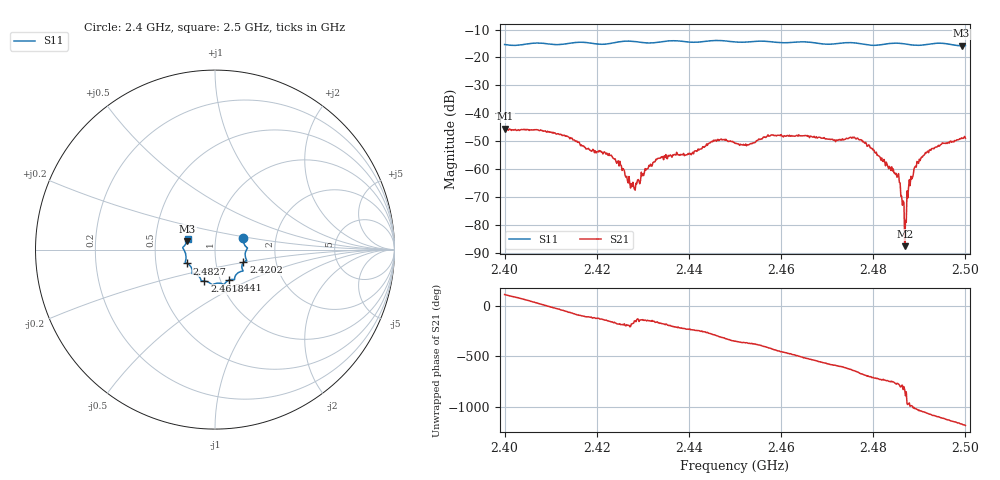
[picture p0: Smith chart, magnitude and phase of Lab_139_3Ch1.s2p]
# Hz S RI R 50
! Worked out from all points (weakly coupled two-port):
!   601 points, 2.4 GHz to 2.5 GHz, reference 50 ohm
!   highest |S21| = -45.50 dB at 2.4002 GHz (marker M1); lowest = -87.6 dB at 2.4868 GHz (marker M2)
!   lowest |S11| = -15.8 dB at 2.4992 GHz (marker M3), VSWR 1.39, Z = 36.4 + j3.64 ohm
!   |S11| at or under -10 dB: start of sweep to end of sweep
!   S12 and S22 are empty: the file has one direction only
!   S11 on the Smith chart (normalised r, x): 2.4 GHz: 1.36, +0.18; 2.4202 GHz: 1.36, -0.20; 2.441 GHz: 1.10, -0.39; 2.4618 GHz: 0.84, -0.30; 2.4827 GHz: 0.72, -0.12; 2.5 GHz: 0.73, +0.09
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2.4e9  0.1585 0.0631  -0.00204 0.00481  0 0  0 0
2.400167e9  0.1584 0.0616  -0.00184 0.00498  0 0  0 0
2.4105e9  0.1709 -0.0111  0.00437 -0.00143  0 0  0 0
2.416667e9  0.1771 -0.0608  -0.000366 -0.0027  0 0  0 0
2.420167e9  0.1588 -0.0711  -0.00109 -0.00177  0 0  0 0
2.424833e9  0.1537 -0.1124  -0.00114 9.82e-06  0 0  0 0
2.427833e9  0.1531 -0.1198  -0.000579 -6.44e-05  0 0  0 0
2.433333e9  0.1114 -0.1507  -0.00154 -0.000311  0 0  0 0
2.441e9  0.0789 -0.1698  -0.000983 0.0016  0 0  0 0
2.445833e9  0.0502 -0.1951  0.00126 0.00303  0 0  0 0
2.45e9  0.0285 -0.1874  0.00286 0.00054  0 0  0 0
2.461833e9  -0.0592 -0.1752  -0.00173 -0.00367  0 0  0 0
2.466667e9  -0.0788 -0.1684  -0.00382 -0.000393  0 0  0 0
2.477e9  -0.127 -0.1241  0.00194 0.00273  0 0  0 0
2.482667e9  -0.1558 -0.0773  0.00109 -0.000373  0 0  0 0
2.483333e9  -0.1602 -0.0753  0.000909 -0.000471  0 0  0 0
2.485333e9  -0.1658 -0.0702  0.000493 -0.000597  0 0  0 0
2.486833e9  -0.1637 -0.0613  -1.69e-05 -3.83e-05  0 0  0 0
2.487833e9  -0.1619 -0.0517  -0.000295 0.000575  0 0  0 0
2.49e9  -0.1635 -0.0238  0.00107 0.00106  0 0  0 0
2.499167e9  -0.1548 0.0486  -0.000132 -0.00364  0 0  0 0
2.5e9  -0.1521 0.0607  -0.001 -0.00345  0 0  0 0
